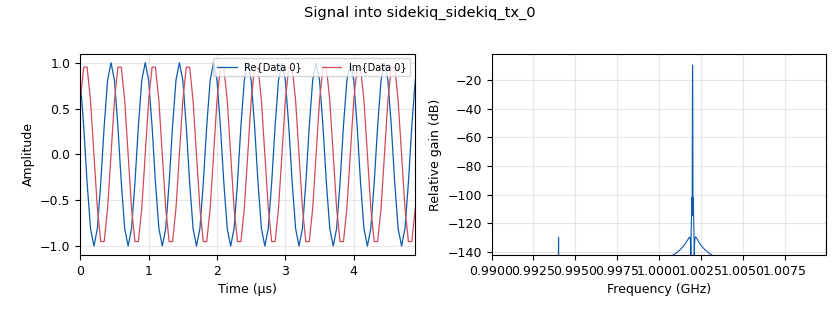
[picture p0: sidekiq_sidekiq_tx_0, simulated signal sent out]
options:
  parameters:
    generate_options: qt_gui
    id: sink_test
    output_language: python
    title: Sink Test
  states: {}

blocks:
- name: attenuation
  id: variable_qtgui_range
  parameters:
    gui_hint: '[8, 0, 2, 1]'
    min_len: '100'
    start: '0'
    step: '10'
    stop: '359'
    value: '150'
  states: {}
- name: bandwidth
  id: variable_qtgui_range
  parameters:
    gui_hint: '[2,0, 2, 1]'
    start: '1000'
    step: 1e6
    stop: 250e6
    value: sample_rate * 0.8
  states: {}
- name: frequency
  id: variable_qtgui_range
  parameters:
    gui_hint: '[4, 0, 2, 1]'
    label: Frequency
    min_len: '100'
    start: 500e6
    step: 1e6
    stop: 6000e6
    value: 1000e6
  states: {}
- name: min_out_buffer
  id: variable
  parameters:
    value: 32764 *2*2
  states: {}
- name: run_tx_calibration
  id: variable_qtgui_push_button
  parameters:
    gui_hint: '[12, 0, 1, 1]'
    pressed: '1'
    released: '0'
    type: int
    value: '0'
  states: {}
- name: sample_rate
  id: variable_qtgui_range
  parameters:
    gui_hint: '[0,0,2,1]'
    start: 1e6
    step: 1e6
    stop: 250e6
    value: 20e6
  states: {}
- name: tone_freq
  id: variable_qtgui_range
  parameters:
    gui_hint: '[10, 0, 2, 1]'
    start: 1e6
    step: 1e6
    stop: 25e6
    value: 2e6
  states: {}
- name: analog_sig_source_x_0
  id: analog_sig_source_x
  parameters:
    amp: '1'
    freq: tone_freq
    minoutbuf: min_out_buffer
    offset: '0'
    phase: '0'
    samp_rate: sample_rate
    type: complex
    waveform: analog.GR_COS_WAVE
  states: {}
- name: blocks_message_strobe_0
  id: blocks_message_strobe
  parameters:
    msg: pmt.intern("temp")
    period: '1000'
  states: {}
- name: blocks_message_strobe_1
  id: blocks_message_strobe
  parameters:
    msg: pmt.intern("imu")
    period: '1000'
  states: {}
- name: sidekiq_sidekiq_tx_0
  id: sidekiq_sidekiq_tx
  parameters:
    attenuation: attenuation
    bandwidth: bandwidth
    buffer_size: '32764'
    burst_tag: ''
    cal_mode: '1'
    card: '2'
    frequency: frequency
    handle: '0'
    run_cal: run_tx_calibration
    sample_rate: sample_rate
    threads: '4'
  states: {}
- name: sidekiq_telemetry_0
  id: sidekiq_telemetry
  parameters:
    imu_enabled: '0'
    input_card: '2'
    temp_enabled: '0'
  states: {}

connections:
- [analog_sig_source_x_0, '0', sidekiq_sidekiq_tx_0, '0']
- [blocks_message_strobe_0, strobe, sidekiq_telemetry_0, temp]
- [blocks_message_strobe_1, strobe, sidekiq_telemetry_0, imu]

metadata:
  file_format: 1
  grc_version: v3.11.0.0git-495-g30aea759
